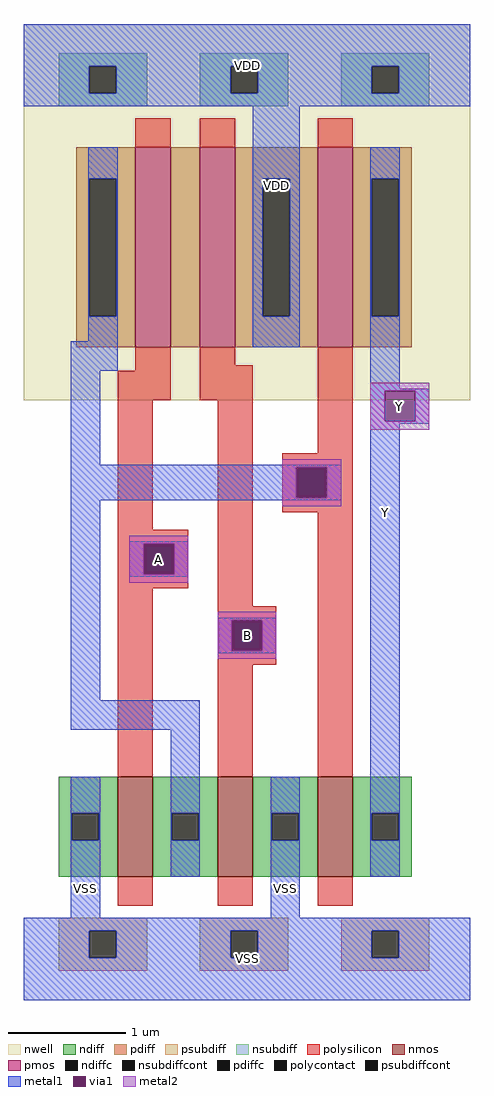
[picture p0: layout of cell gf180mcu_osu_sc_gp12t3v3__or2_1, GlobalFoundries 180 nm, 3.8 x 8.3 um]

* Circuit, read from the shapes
.subckt gf180mcu_osu_sc_gp12t3v3__or2_1 A B Y VDD VSS
XM1 n1 A VSS VSS nfet_03v3 w=0.85u l=0.3u
XM2 VSS B n1 VSS nfet_03v3 w=0.85u l=0.3u
XM3 Y n1 VSS VSS nfet_03v3 w=0.85u l=0.3u
XM4 n2 A n1 VDD pfet_03v3 w=1.7u l=0.3u
XM5 VDD B n2 VDD pfet_03v3 w=1.7u l=0.3u
XM6 Y n1 VDD VDD pfet_03v3 w=1.7u l=0.3u
.ends

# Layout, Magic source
magic
tech gf180mcuA
magscale 1 10
<< nwell >>
rect 0 1020 760 1660
<< nmos >>
rect 160 210 220 380
rect 330 210 390 380
rect 500 210 560 380
<< pmos >>
rect 190 1110 250 1450
rect 300 1110 360 1450
rect 500 1110 560 1450
<< ndiff >>
rect 60 318 160 380
rect 60 272 82 318
rect 128 272 160 318
rect 60 210 160 272
rect 220 318 330 380
rect 220 272 252 318
rect 298 272 330 318
rect 220 210 330 272
rect 390 318 500 380
rect 390 272 422 318
rect 468 272 500 318
rect 390 210 500 272
rect 560 318 660 380
rect 560 272 592 318
rect 638 272 660 318
rect 560 210 660 272
<< pdiff >>
rect 90 1397 190 1450
rect 90 1163 112 1397
rect 158 1163 190 1397
rect 90 1110 190 1163
rect 250 1110 300 1450
rect 360 1397 500 1450
rect 360 1163 407 1397
rect 453 1163 500 1397
rect 360 1110 500 1163
rect 560 1397 660 1450
rect 560 1163 592 1397
rect 638 1163 660 1397
rect 560 1110 660 1163
<< ndiffc >>
rect 82 272 128 318
rect 252 272 298 318
rect 422 272 468 318
rect 592 272 638 318
<< pdiffc >>
rect 112 1163 158 1397
rect 407 1163 453 1397
rect 592 1163 638 1397
<< psubdiff >>
rect 60 118 210 140
rect 60 72 112 118
rect 158 72 210 118
rect 60 50 210 72
rect 300 118 450 140
rect 300 72 352 118
rect 398 72 450 118
rect 300 50 450 72
rect 540 118 690 140
rect 540 72 592 118
rect 638 72 690 118
rect 540 50 690 72
<< nsubdiff >>
rect 60 1588 210 1610
rect 60 1542 112 1588
rect 158 1542 210 1588
rect 60 1520 210 1542
rect 300 1588 450 1610
rect 300 1542 352 1588
rect 398 1542 450 1588
rect 300 1520 450 1542
rect 540 1588 690 1610
rect 540 1542 592 1588
rect 638 1542 690 1588
rect 540 1520 690 1542
<< psubdiffcont >>
rect 112 72 158 118
rect 352 72 398 118
rect 592 72 638 118
<< nsubdiffcont >>
rect 112 1542 158 1588
rect 352 1542 398 1588
rect 592 1542 638 1588
<< polysilicon >>
rect 190 1450 250 1500
rect 300 1450 360 1500
rect 500 1450 560 1500
rect 190 1070 250 1110
rect 160 1020 250 1070
rect 300 1080 360 1110
rect 300 1020 390 1080
rect 160 800 220 1020
rect 160 773 280 800
rect 160 727 207 773
rect 253 727 280 773
rect 160 700 280 727
rect 160 380 220 700
rect 330 670 390 1020
rect 500 930 560 1110
rect 440 903 560 930
rect 440 857 467 903
rect 513 857 560 903
rect 440 830 560 857
rect 330 643 430 670
rect 330 597 357 643
rect 403 597 430 643
rect 330 570 430 597
rect 330 380 390 570
rect 500 380 560 830
rect 160 160 220 210
rect 330 160 390 210
rect 500 160 560 210
<< polycontact >>
rect 207 727 253 773
rect 467 857 513 903
rect 357 597 403 643
<< metal1 >>
rect 0 1588 760 1660
rect 0 1542 112 1588
rect 158 1542 352 1588
rect 398 1542 592 1588
rect 638 1542 760 1588
rect 0 1520 760 1542
rect 110 1397 160 1450
rect 110 1163 112 1397
rect 158 1163 160 1397
rect 110 1120 160 1163
rect 80 1070 160 1120
rect 390 1397 470 1520
rect 390 1163 407 1397
rect 453 1163 470 1397
rect 390 1110 470 1163
rect 590 1397 640 1450
rect 590 1163 592 1397
rect 638 1163 640 1397
rect 80 910 130 1070
rect 590 1040 640 1163
rect 590 1036 690 1040
rect 590 984 614 1036
rect 666 984 690 1036
rect 590 980 690 984
rect 80 906 540 910
rect 80 854 464 906
rect 516 854 540 906
rect 80 850 540 854
rect 80 510 130 850
rect 180 776 280 780
rect 180 724 204 776
rect 256 724 280 776
rect 180 720 280 724
rect 330 646 430 650
rect 330 594 354 646
rect 406 594 430 646
rect 330 590 430 594
rect 80 460 300 510
rect 80 318 130 380
rect 80 272 82 318
rect 128 272 130 318
rect 80 140 130 272
rect 250 318 300 460
rect 250 272 252 318
rect 298 272 300 318
rect 250 210 300 272
rect 420 318 470 380
rect 420 272 422 318
rect 468 272 470 318
rect 420 140 470 272
rect 590 318 640 980
rect 590 272 592 318
rect 638 272 640 318
rect 590 210 640 272
rect 0 118 760 140
rect 0 72 112 118
rect 158 72 352 118
rect 398 72 592 118
rect 638 72 760 118
rect 0 0 760 72
<< via1 >>
rect 614 984 666 1036
rect 464 903 516 906
rect 464 857 467 903
rect 467 857 513 903
rect 513 857 516 903
rect 464 854 516 857
rect 204 773 256 776
rect 204 727 207 773
rect 207 727 253 773
rect 253 727 256 773
rect 204 724 256 727
rect 354 643 406 646
rect 354 597 357 643
rect 357 597 403 643
rect 403 597 406 643
rect 354 594 406 597
<< metal2 >>
rect 590 1036 690 1050
rect 590 984 614 1036
rect 666 984 690 1036
rect 590 970 690 984
rect 440 906 540 920
rect 440 854 464 906
rect 516 854 540 906
rect 440 840 540 854
rect 180 776 280 790
rect 180 724 204 776
rect 256 724 280 776
rect 180 710 280 724
rect 330 646 430 660
rect 330 594 354 646
rect 406 594 430 646
rect 330 580 430 594
<< labels >>
rlabel via1 s 204 724 256 776 4 A
port 1 nsew signal input
rlabel via1 s 354 594 406 646 4 B
port 2 nsew signal input
rlabel via1 s 614 984 666 1036 4 Y
port 3 nsew signal output
rlabel metal1 s 390 1110 470 1660 4 VDD
port 4 nsew power bidirectional abutment
rlabel metal1 s 80 0 130 380 4 VSS
port 5 nsew ground bidirectional abutment
rlabel metal1 s 0 1520 760 1660 1 VDD
port 4 nsew power bidirectional abutment
rlabel metal1 s 420 0 470 380 1 VSS
port 5 nsew ground bidirectional abutment
rlabel metal1 s 0 0 760 140 1 VSS
port 5 nsew ground bidirectional abutment
rlabel metal2 s 180 710 280 790 1 A
port 1 nsew signal input
rlabel metal1 s 180 720 280 780 1 A
port 1 nsew signal input
rlabel metal2 s 330 580 430 660 1 B
port 2 nsew signal input
rlabel metal1 s 330 590 430 650 1 B
port 2 nsew signal input
rlabel metal2 s 590 970 690 1050 1 Y
port 3 nsew signal output
rlabel metal1 s 590 210 640 1450 1 Y
port 3 nsew signal output
rlabel metal1 s 590 980 690 1040 1 Y
port 3 nsew signal output
<< properties >>
string FIXED_BBOX 0 0 760 1660
string GDS_END 497150
string GDS_FILE $PDKPATH/libs.ref/gf180mcu_osu_sc_gp12t3v3/gds/gf180mcu_osu_sc_gp12t3v3.gds
string GDS_START 491768
string LEFclass CORE
string LEFsite gf180mcu_osu_sc_gp12t3v3
string LEFsymmetry X Y
<< end >>
